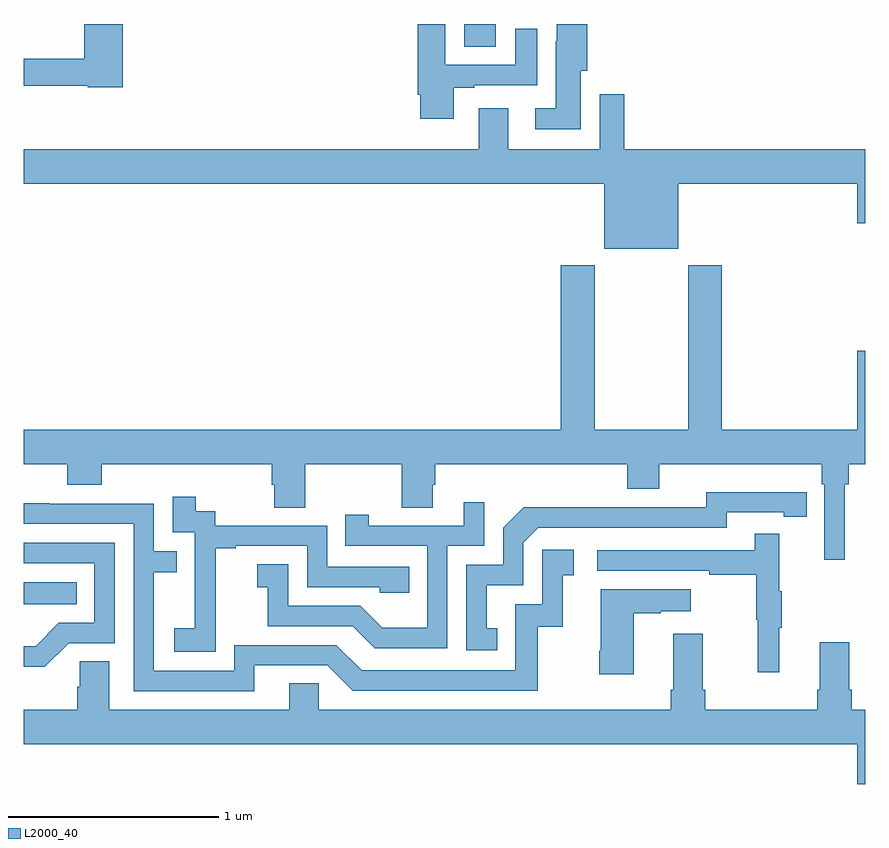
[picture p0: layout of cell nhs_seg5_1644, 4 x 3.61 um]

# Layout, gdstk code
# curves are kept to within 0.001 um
import gdstk
lib = gdstk.Library(unit=1e-6, precision=1e-09)
def R(c, l, rs):  # rectangles x0, y0, x1, y1
    for r in rs: c.add(gdstk.rectangle(r[:2], r[2:], *l))
def P(c, l, *ps):  # polygons
    for p in ps: c.add(gdstk.Polygon(p, *l))
L2000_40 = (2000, 40)

nhs_seg5_1644 = lib.new_cell('nhs_seg5_1644')
R(nhs_seg5_1644, L2000_40, [(209,908.042,209.252,908.146), (211.094,910.69,211.243,910.799)])
P(nhs_seg5_1644, L2000_40, [(209.471,910.799),(209.288,910.799),(209.288,910.634),(209,910.634),(209,910.506),(209.304,910.506),(209.304,910.498),(209.471,910.498)],
  [(211.045,910.497),(211.141,910.497),(211.141,910.509),(211.441,910.509),(211.441,910.777),(211.337,910.777),(211.337,910.605),(211.003,910.605),(211.003,910.799),(210.872,910.799),(210.872,910.462),(210.884,910.462),(210.884,910.35),(211.045,910.35)],
  [(211.648,910.578),(211.679,910.578),(211.679,910.799),(211.533,910.799),(211.533,910.718),(211.529,910.718),(211.529,910.399),(211.431,910.399),(211.431,910.298),(211.648,910.298)],
  [(212.11,910.04),(212.96,910.04),(212.96,909.852),(213,909.852),(213,910.204),(211.853,910.204),(211.853,910.465),(211.737,910.465),(211.737,910.204),(211.303,910.204),(211.303,910.399),(211.163,910.399),(211.163,910.204),(209,910.204),(209,910.04),(211.76,910.04),(211.76,909.731),(212.11,909.731)],
  [(212.902,908.612),(212.921,908.612),(212.921,908.708),(213,908.708),(213,909.247),(212.96,909.247),(212.96,908.872),(212.318,908.872),(212.318,909.652),(212.158,909.652),(212.158,908.872),(211.713,908.872),(211.713,909.652),(211.553,909.652),(211.553,908.872),(209,908.872),(209,908.708),(209.207,908.708),(209.207,908.609),(209.372,908.609),(209.372,908.708),(210.179,908.708),(210.179,908.61),(210.191,908.61),(210.191,908.5),(210.339,908.5),(210.339,908.708),(210.796,908.708),(210.796,908.5),(210.943,908.5),(210.943,908.61),(210.956,908.61),(210.956,908.708),(211.868,908.708),(211.868,908.591),(212.02,908.591),(212.02,908.708),(212.792,908.708),(212.792,908.612),(212.805,908.612),(212.805,908.253),(212.902,908.253)],
  [(211.25,907.929),(211.201,907.929),(211.201,908.133),(211.374,908.133),(211.374,908.334),(211.446,908.406),(212.34,908.406),(212.34,908.478),(212.612,908.478),(212.612,908.458),(212.72,908.458),(212.72,908.574),(212.244,908.575),(212.244,908.502),(211.784,908.502),(211.784,908.504),(211.376,908.504),(211.278,908.406),(211.278,908.229),(211.104,908.229),(211.104,907.824),(211.25,907.824)],
  [(209.913,908.023),(209.912,908.023),(209.912,908.307),(210.007,908.307),(210.007,908.319),(210.348,908.319),(210.348,908.124),(210.693,908.124),(210.693,908.097),(210.833,908.097),(210.833,908.22),(210.444,908.22),(210.444,908.415),(209.91,908.415),(209.91,908.484),(209.818,908.484),(209.818,908.554),(209.709,908.554),(209.709,908.385),(209.814,908.385),(209.814,908.156),(209.813,908.156),(209.813,907.927),(209.715,907.927),(209.715,907.817),(209.913,907.817)],
  [(211.014,908.319),(211.188,908.319),(211.188,908.527),(211.091,908.527),(211.091,908.415),(210.64,908.415),(210.64,908.467),(210.529,908.467),(210.529,908.319),(210.918,908.319),(210.918,907.93),(210.704,907.93),(210.6,908.034),(210.258,908.034),(210.258,908.233),(210.111,908.233),(210.111,908.123),(210.16,908.123),(210.16,907.938),(210.563,907.938),(210.668,907.833),(211.014,907.833)],
  [(210.097,907.752),(210.444,907.752),(210.564,907.632),(211.444,907.632),(211.444,907.935),(211.562,907.935),(211.562,908.181),(211.615,908.181),(211.615,908.302),(211.464,908.302),(211.464,908.043),(211.335,908.043),(211.335,907.728),(210.606,907.728),(210.486,907.848),(210,907.848),(210,907.725),(209.619,907.725),(209.619,908.194),(209.729,908.194),(209.729,908.295),(209.619,908.295),(209.619,908.52),(209.123,908.52),(209.123,908.522),(209,908.522),(209,908.424),(209.523,908.424),(209.523,907.629),(210.097,907.629)],
  [(212.591,907.931),(212.602,907.931),(212.602,908.105),(212.591,908.105),(212.591,908.377),(212.473,908.377),(212.473,908.298),(211.725,908.298),(211.725,908.202),(212.257,908.202),(212.257,908.182),(212.481,908.182),(212.481,907.968),(212.488,907.968),(212.488,907.719),(212.591,907.719)],
  [(209.214,907.857),(209.433,907.857),(209.433,908.334),(209,908.334),(209,908.238),(209.337,908.238),(209.337,907.953),(209.168,907.953),(209.057,907.842),(209,907.842),(209,907.745),(209.101,907.745)],
  [(211.9,907.999),(212.027,907.999),(212.027,908.009),(212.17,908.009),(212.17,908.113),(211.742,908.113),(211.742,907.822),(211.735,907.822),(211.735,907.71),(211.9,907.71)],
  [(213,907.54),(212.936,907.54),(212.936,907.636),(212.923,907.636),(212.923,907.861),(212.783,907.861),(212.783,907.636),(212.771,907.636),(212.771,907.54),(212.24,907.54),(212.24,907.636),(212.227,907.636),(212.227,907.903),(212.087,907.903),(212.087,907.636),(212.075,907.636),(212.075,907.54),(210.402,907.54),(210.402,907.667),(210.263,907.667),(210.263,907.54),(209.407,907.54),(209.407,907.772),(209.268,907.772),(209.268,907.649),(209.255,907.649),(209.255,907.54),(209,907.54),(209,907.376),(212.96,907.376),(212.96,907.188),(213,907.188)])

lib.write_gds('nhs_seg5_1644.gds')
